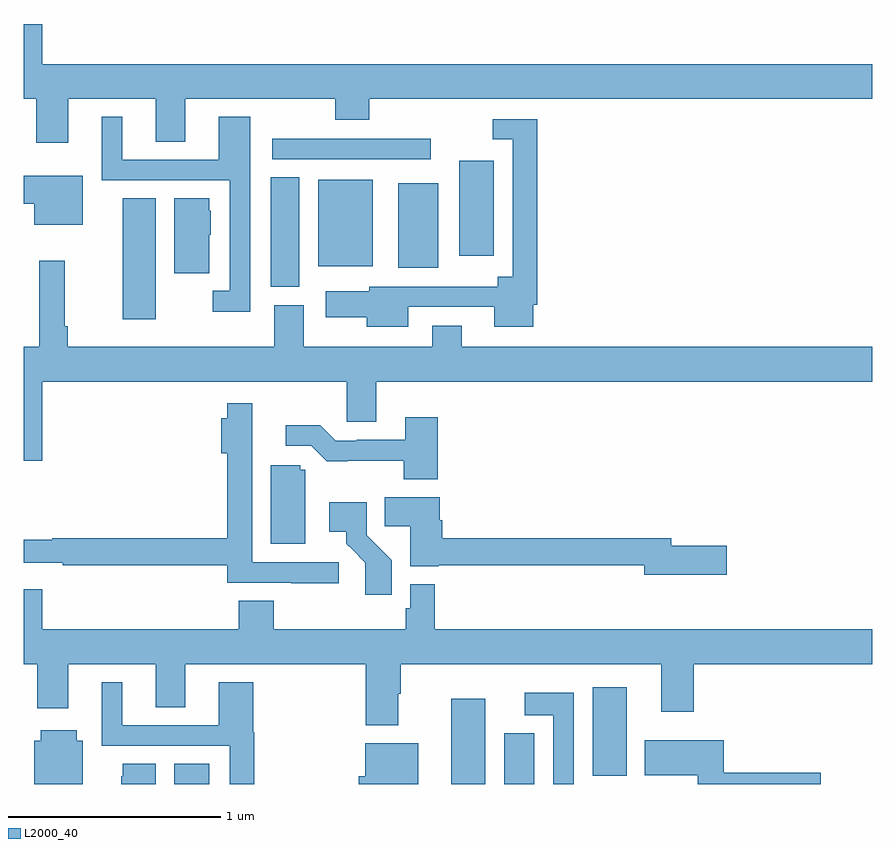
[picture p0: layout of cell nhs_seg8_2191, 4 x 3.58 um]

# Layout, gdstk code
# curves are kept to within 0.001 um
import gdstk
lib = gdstk.Library(unit=1e-6, precision=1e-09)
def R(c, l, rs):  # rectangles x0, y0, x1, y1
    for r in rs: c.add(gdstk.rectangle(r[:2], r[2:], *l))
def P(c, l, *ps):  # polygons
    for p in ps: c.add(gdstk.Polygon(p, *l))
L2000_40 = (2000, 40)

nhs_seg8_2191 = lib.new_cell('nhs_seg8_2191')
R(nhs_seg8_2191, L2000_40, [(249.71,1151.9,249.874,1151.996), (251.015,1151.9,251.176,1152.301), (251.264,1151.9,251.407,1152.139), (251.681,1151.939,251.842,1152.355), (249.467,1154.091,249.622,1154.66), (250.166,1154.243,250.3,1154.759), (250.766,1154.333,250.954,1154.731), (250.388,1154.339,250.645,1154.746), (251.054,1154.388,251.215,1154.836), (250.173,1154.844,250.918,1154.94)])
P(nhs_seg8_2191, L2000_40, [(249.211,1155.128),(249.623,1155.128),(249.623,1154.926),(249.763,1154.926),(249.763,1155.128),(250.468,1155.128),(250.468,1155.029),(250.628,1155.029),(250.628,1155.128),(253,1155.128),(253,1155.292),(249.088,1155.292),(249.088,1155.481),(249,1155.481),(249,1155.128),(249.059,1155.128),(249.059,1154.922),(249.211,1154.922)],
  [(250.068,1155.043),(249.92,1155.043),(249.92,1154.841),(249.466,1154.841),(249.466,1155.043),(249.368,1155.043),(249.368,1154.745),(249.972,1154.745),(249.972,1154.223),(249.891,1154.223),(249.891,1154.126),(250.068,1154.126)],
  [(250.813,1154.148),(251.219,1154.148),(251.219,1154.054),(251.401,1154.054),(251.401,1154.158),(251.42,1154.158),(251.42,1155.033),(251.211,1155.033),(251.211,1154.937),(251.304,1154.937),(251.304,1154.29),(251.234,1154.29),(251.234,1154.244),(250.629,1154.244),(250.629,1154.221),(250.425,1154.221),(250.425,1154.099),(250.618,1154.099),(250.618,1154.054),(250.813,1154.054)],
  [(249.28,1154.767),(249,1154.767),(249,1154.633),(249.05,1154.633),(249.05,1154.534),(249.28,1154.534)],
  [(249.874,1154.487),(249.883,1154.487),(249.883,1154.601),(249.874,1154.601),(249.874,1154.66),(249.71,1154.66),(249.71,1154.307),(249.874,1154.307)],
  [(249.088,1153.796),(250.524,1153.796),(250.524,1153.606),(250.663,1153.606),(250.663,1153.796),(253,1153.796),(253,1153.96),(251.065,1153.96),(251.065,1154.059),(250.925,1154.059),(250.925,1153.96),(250.321,1153.96),(250.321,1154.155),(250.181,1154.155),(250.181,1153.96),(249.209,1153.96),(249.209,1154.056),(249.194,1154.056),(249.194,1154.365),(249.073,1154.365),(249.073,1153.96),(249,1153.96),(249,1153.422),(249.088,1153.422)],
  [(250.486,1152.945),(250.077,1152.945),(250.077,1153.47),(250.078,1153.47),(250.078,1153.693),(249.961,1153.693),(249.961,1153.624),(249.932,1153.624),(249.932,1153.459),(249.961,1153.459),(249.961,1153.058),(249.136,1153.058),(249.136,1153.051),(249,1153.051),(249,1152.942),(249.184,1152.942),(249.184,1152.93),(249.961,1152.93),(249.961,1152.849),(250.261,1152.849),(250.261,1152.847),(250.486,1152.847)],
  [(250.952,1153.627),(250.799,1153.627),(250.799,1153.521),(250.57,1153.521),(250.57,1153.518),(250.47,1153.518),(250.397,1153.591),(250.236,1153.591),(250.236,1153.494),(250.356,1153.494),(250.429,1153.421),(250.792,1153.422),(250.792,1153.337),(250.952,1153.337)],
  [(250.327,1153.38),(250.305,1153.38),(250.305,1153.401),(250.166,1153.401),(250.166,1153.032),(250.327,1153.032)],
  [(252.313,1153.022),(252.052,1153.022),(252.052,1153.058),(250.973,1153.058),(250.973,1153.142),(250.96,1153.142),(250.96,1153.252),(250.702,1153.252),(250.702,1153.114),(250.823,1153.114),(250.823,1152.926),(250.956,1152.926),(250.956,1152.93),(251.924,1152.93),(251.924,1152.887),(252.313,1152.887)],
  [(250.736,1152.954),(250.617,1153.073),(250.617,1153.228),(250.44,1153.228),(250.44,1153.088),(250.52,1153.088),(250.52,1153.033),(250.548,1153.005),(250.611,1152.943),(250.611,1152.792),(250.736,1152.792)],
  [(250.765,1152.326),(250.778,1152.326),(250.778,1152.464),(252.005,1152.464),(252.005,1152.24),(252.158,1152.24),(252.158,1152.464),(253,1152.464),(253,1152.628),(250.937,1152.628),(250.937,1152.841),(250.821,1152.841),(250.821,1152.729),(250.801,1152.729),(250.801,1152.628),(250.178,1152.628),(250.178,1152.764),(250.013,1152.764),(250.013,1152.628),(249.088,1152.628),(249.088,1152.817),(249,1152.817),(249,1152.464),(249.064,1152.464),(249.064,1152.258),(249.211,1152.258),(249.211,1152.464),(249.623,1152.464),(249.623,1152.262),(249.763,1152.262),(249.763,1152.464),(250.613,1152.464),(250.613,1152.176),(250.765,1152.176)],
  [(250.088,1152.144),(250.082,1152.144),(250.082,1152.379),(249.92,1152.379),(249.92,1152.177),(249.466,1152.177),(249.466,1152.379),(249.368,1152.379),(249.368,1152.081),(249.972,1152.081),(249.972,1151.9),(250.088,1151.9)],
  [(251.592,1152.331),(251.361,1152.331),(251.361,1152.224),(251.496,1152.224),(251.496,1151.9),(251.592,1151.9)],
  [(249.28,1152.103),(249.25,1152.103),(249.25,1152.154),(249.08,1152.154),(249.08,1152.103),(249.05,1152.103),(249.05,1151.9),(249.28,1151.9)],
  [(252.757,1151.954),(252.299,1151.954),(252.299,1152.106),(251.927,1152.106),(251.927,1151.942),(252.176,1151.942),(252.176,1151.9),(252.757,1151.9)],
  [(250.861,1152.091),(250.61,1152.091),(250.61,1151.937),(250.58,1151.937),(250.58,1151.9),(250.861,1151.9)],
  [(249.622,1151.996),(249.467,1151.996),(249.467,1151.937),(249.461,1151.937),(249.461,1151.9),(249.622,1151.9)])

lib.write_gds('nhs_seg8_2191.gds')
